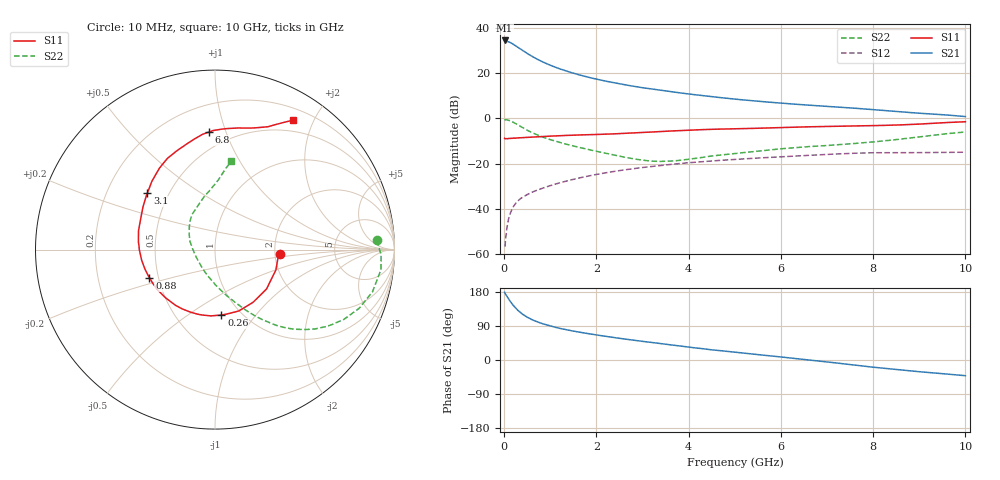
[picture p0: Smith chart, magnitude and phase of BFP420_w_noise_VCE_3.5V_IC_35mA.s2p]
! Infineon Technologies  Discrete & RF Semiconductors
! BFP420
! VCE =  3.5 V,  IC =  35 mA
! Common Emitter S-Parameters:  Jan 2016
# GHz  S  MA  R  50
!  f  S11  S21  S12  S22
! GHz  MAG  ANG  MAG  ANG  MAG  ANG  MAG  ANG
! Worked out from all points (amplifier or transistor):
!   233 points, 10 MHz to 10 GHz, reference 50 ohm
!   highest |S21| = 34.4 dB at 10 MHz (marker M1)
!   |S21| within 3 dB of that: start of sweep to 296.6 MHz
!   unconditionally stable (mu >= 1): start of sweep to 11.48 MHz; 1.474 GHz to end of sweep
!   at 200 MHz: K = 0.34, MSG = 35.9 dB, |S12| = -39.0 dB
!   at 1.74 GHz: K = 1.04, MAG = 20.9 dB, |S12| = -25.8 dB
!   at 10 GHz: K = 1.06, MAG = 6.4 dB, |S12| = -15.0 dB
!   lowest NFmin = 1.64 dB at 900 MHz
!   S11 on the Smith chart (normalised r, x): 10 MHz: 2.12, -0.12; 260 MHz: 0.81, -0.69; 880 MHz: 0.45, -0.17; 3.1 GHz: 0.38, +0.32; 6.8 GHz: 0.38, +0.87; 10 GHz: 0.35, +1.71
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0.01  0.361 -4.0  52.45 178.9  0.0015 95.3  0.9033 3.3
0.025  0.3538 -8.8  51.08 174.7  0.0018 89.6  0.9263 -2.7
0.05  0.3577 -18.5  50.56 169.9  0.0032 80.8  0.9313 -6.9
0.09  0.3576 -33.7  49.16 162.3  0.0056 77.0  0.9117 -13.4
0.15  0.3622 -54.1  46.26 151.6  0.0088 73.4  0.8669 -22.2
0.2  0.3668 -68.8  43.22 143.8  0.0112 69.9  0.8162 -28.5
0.26  0.3662 -84.4  39.3 135.6  0.0136 66.6  0.753 -34.7
0.3  0.37 -93.5  36.95 130.7  0.015 64.9  0.7117 -38.4
0.4  0.3743 -111.6  31.49 120.7  0.0181 62.1  0.6198 -45.6
0.5  0.3805 -125.4  27.02 113.0  0.0207 60.7  0.5446 -50.9
0.6  0.3851 -136.2  23.47 106.6  0.0232 60.1  0.4851 -55.0
0.7  0.3907 -144.9  20.63 101.4  0.0255 59.8  0.4374 -58.4
0.88  0.3977 -156.8  16.81 93.9  0.0297 59.7  0.3727 -63.5
1.2  0.4132 -172.1  12.44 83.6  0.0375 59.5  0.2938 -71.7
1.68  0.4306 172.1  8.824 72.4  0.0495 57.6  0.2212 -83.4
2.2  0.4464 158.8  6.629 62.4  0.0626 54.2  0.1687 -97.6
3.1  0.4917 139.9  4.59 47.8  0.0842 46.4  0.1159 -136.1
3.4  0.5112 134.3  4.146 43.2  0.0911 43.5  0.1119 -152.8
5.1  0.5897 111.3  2.597 19.3  0.1256 27.3  0.171 147.3
6.8  0.6558 93.0  1.893 -2.4  0.1557 11.4  0.2435 118.2
8.4  0.7046 73.9  1.443 -24.0  0.1741 -6.6  0.3302 95.2
10  0.8406 59.0  1.094 -41.4  0.1783 -19.1  0.4993 79.7
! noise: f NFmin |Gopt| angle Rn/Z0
0.9  1.64  0.3  -155  0.13
1.8  1.9  0.37  -142  0.15
2.4  2.1  0.34  -134  0.19
3  2.11  0.4  -126  0.22
4  2.25  0.5  -110  0.35
5  2.73  0.54  -94  0.59
6  3.16  0.59  -82  0.84
